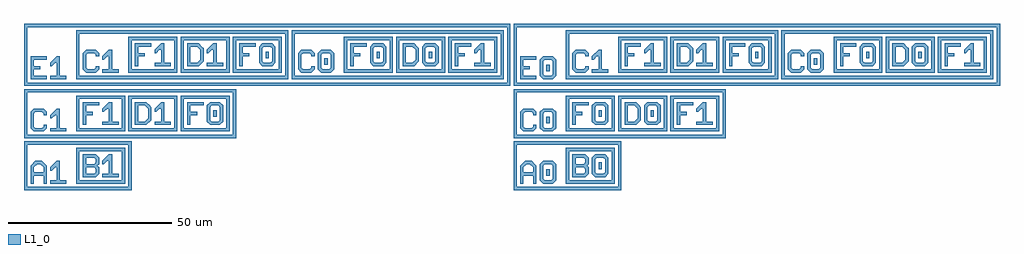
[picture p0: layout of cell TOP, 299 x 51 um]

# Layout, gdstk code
import gdstk
lib = gdstk.Library(unit=1e-6, precision=1e-09)
def R(c, l, rs):  # rectangles x0, y0, x1, y1
    for r in rs: c.add(gdstk.rectangle(r[:2], r[2:], *l))
def P(c, l, *ps):  # polygons
    for p in ps: c.add(gdstk.Polygon(p, *l))
L1_0 = (1, 0)

text_45 = lib.new_cell('TEXT$45')
P(text_45, L1_0, [(0,0),(0,5.5),(1.5,7),(3.5,7),(4.5,6),(2,6),(1,5),(1,3.5),(4,3.5),(4,5),(3,6),(4.5,6),(5,5.5),(5,0),(4,0),(4,2.5),(1,2.5),(1,0)],
  [(6,0),(6,1),(8,1),(8,5),(7.5,5),(6.5,4),(6,4),(6,5),(8,7),(9,7),(9,1),(11,1),(11,0)])

text_25 = lib.new_cell('TEXT$25')
P(text_25, L1_0, [(0,0),(0,7),(4,7),(5,6),(1,6),(1,4),(3.5,4),(4,4.5),(4,5.5),(3.5,6),(5,6),(5,4),(4.5,3.5),(5,3),(1,3),(1,1),(3.5,1),(4,1.5),(4,2.5),(3.5,3),(5,3),(5,1),(4,0)],
  [(6,0),(6,1),(8,1),(8,5),(7.5,5),(6.5,4),(6,4),(6,5),(8,7),(9,7),(9,1),(11,1),(11,0)])

c_b1 = lib.new_cell('B1')
c_b1.add(gdstk.FlexPath([(0.5,0.5),(0.5,10.5),(14.5,10.5),(14.5,0.5),(0.5,0.5)], 1, ends="extended", simple_path=True, layer=1, datatype=0))  # L1_0
c_b1.add(gdstk.Reference(text_25, (2,2)))

c_a1 = lib.new_cell('A1')
c_a1.add(gdstk.FlexPath([(0.5,0.5),(0.5,14.5),(32.5,14.5),(32.5,0.5),(0.5,0.5)], 1, ends="extended", simple_path=True, layer=1, datatype=0))  # L1_0
c_a1.add(gdstk.Reference(text_45, (2,2)))
c_a1.add(gdstk.Reference(c_b1, (16,2)))

text_47 = lib.new_cell('TEXT$47')
P(text_47, L1_0, [(1,0),(0,1),(0,6),(1,7),(4,7),(5,6),(5,5),(4,5),(4,5.5),(3.5,6),(1.5,6),(1,5.5),(1,1.5),(1.5,1),(3.5,1),(4,1.5),(4,2),(5,2),(5,1),(4,0)],
  [(6,0),(6,1),(8,1),(8,5),(7.5,5),(6.5,4),(6,4),(6,5),(8,7),(9,7),(9,1),(11,1),(11,0)])

text = lib.new_cell('TEXT')
P(text, L1_0, [(0,0),(0,7),(5,7),(5,6),(1,6),(1,4),(3,4),(3,3),(1,3),(1,0)],
  [(6,0),(6,1),(8,1),(8,5),(7.5,5),(6.5,4),(6,4),(6,5),(8,7),(9,7),(9,1),(11,1),(11,0)])

c_f1 = lib.new_cell('F1')
c_f1.add(gdstk.FlexPath([(0.5,0.5),(0.5,10.5),(14.5,10.5),(14.5,0.5),(0.5,0.5)], 1, ends="extended", simple_path=True, layer=1, datatype=0))  # L1_0
c_f1.add(gdstk.Reference(text, (2,2)))

text_52 = lib.new_cell('TEXT$52')
P(text_52, L1_0, [(0,0),(0,7),(3.5,7),(4.5,6),(1,6),(1,1),(3,1),(4,2),(4,5),(3,6),(4.5,6),(5,5.5),(5,1.5),(3.5,0)],
  [(6,0),(6,1),(8,1),(8,5),(7.5,5),(6.5,4),(6,4),(6,5),(8,7),(9,7),(9,1),(11,1),(11,0)])

c_d1 = lib.new_cell('D1')
c_d1.add(gdstk.FlexPath([(0.5,0.5),(0.5,10.5),(14.5,10.5),(14.5,0.5),(0.5,0.5)], 1, ends="extended", simple_path=True, layer=1, datatype=0))  # L1_0
c_d1.add(gdstk.Reference(text_52, (2,2)))

text_53 = lib.new_cell('TEXT$53')
R(text_53, L1_0, [(8,2.5,9,4.5)])
P(text_53, L1_0, [(0,0),(0,7),(5,7),(5,6),(1,6),(1,4),(3,4),(3,3),(1,3),(1,0)],
  [(7,0),(6,1),(6,6),(7,7),(10,7),(11,6),(7.5,6),(7,5.5),(7,1.5),(7.5,1),(9.5,1),(10,1.5),(10,5.5),(9.5,6),(11,6),(11,1),(10,0)])

c_f0 = lib.new_cell('F0')
c_f0.add(gdstk.FlexPath([(0.5,0.5),(0.5,10.5),(14.5,10.5),(14.5,0.5),(0.5,0.5)], 1, ends="extended", simple_path=True, layer=1, datatype=0))  # L1_0
c_f0.add(gdstk.Reference(text_53, (2,2)))

c_c1 = lib.new_cell('C1')
c_c1.add(gdstk.FlexPath([(0.5,0.5),(0.5,14.5),(64.5,14.5),(64.5,0.5),(0.5,0.5)], 1, ends="extended", simple_path=True, layer=1, datatype=0))  # L1_0
c_c1.add(gdstk.Reference(text_47, (2,2)))
c_c1.add(gdstk.Reference(c_f1, (16,2)))
c_c1.add(gdstk.Reference(c_d1, (32,2)))
c_c1.add(gdstk.Reference(c_f0, (48,2)))

text_46 = lib.new_cell('TEXT$46')
P(text_46, L1_0, [(0,0),(0,7),(5,7),(5,6),(1,6),(1,4),(3,4),(3,3),(1,3),(1,1),(5,1),(5,0)],
  [(6,0),(6,1),(8,1),(8,5),(7.5,5),(6.5,4),(6,4),(6,5),(8,7),(9,7),(9,1),(11,1),(11,0)])

text_41 = lib.new_cell('TEXT$41')
R(text_41, L1_0, [(8,2.5,9,4.5)])
P(text_41, L1_0, [(1,0),(0,1),(0,6),(1,7),(4,7),(5,6),(5,5),(4,5),(4,5.5),(3.5,6),(1.5,6),(1,5.5),(1,1.5),(1.5,1),(3.5,1),(4,1.5),(4,2),(5,2),(5,1),(4,0)],
  [(7,0),(6,1),(6,6),(7,7),(10,7),(11,6),(7.5,6),(7,5.5),(7,1.5),(7.5,1),(9.5,1),(10,1.5),(10,5.5),(9.5,6),(11,6),(11,1),(10,0)])

text_31 = lib.new_cell('TEXT$31')
R(text_31, L1_0, [(8,2.5,9,4.5)])
P(text_31, L1_0, [(0,0),(0,7),(3.5,7),(4.5,6),(1,6),(1,1),(3,1),(4,2),(4,5),(3,6),(4.5,6),(5,5.5),(5,1.5),(3.5,0)],
  [(7,0),(6,1),(6,6),(7,7),(10,7),(11,6),(7.5,6),(7,5.5),(7,1.5),(7.5,1),(9.5,1),(10,1.5),(10,5.5),(9.5,6),(11,6),(11,1),(10,0)])

c_d0 = lib.new_cell('D0')
c_d0.add(gdstk.FlexPath([(0.5,0.5),(0.5,10.5),(14.5,10.5),(14.5,0.5),(0.5,0.5)], 1, ends="extended", simple_path=True, layer=1, datatype=0))  # L1_0
c_d0.add(gdstk.FlexPath([(0.5,0.5),(0.5,10.5),(14.5,10.5),(14.5,0.5),(0.5,0.5)], 1, ends="extended", simple_path=True, layer=1, datatype=0))  # L1_0
c_d0.add(gdstk.Reference(text_31, (2,2)))
c_d0.add(gdstk.Reference(text_31, (2,2)))

c_c0 = lib.new_cell('C0')
c_c0.add(gdstk.FlexPath([(0.5,0.5),(0.5,14.5),(64.5,14.5),(64.5,0.5),(0.5,0.5)], 1, ends="extended", simple_path=True, layer=1, datatype=0))  # L1_0
c_c0.add(gdstk.Reference(text_41, (2,2)))
c_c0.add(gdstk.Reference(c_f0, (16,2)))
c_c0.add(gdstk.Reference(c_d0, (32,2)))
c_c0.add(gdstk.Reference(c_f1, (48,2)))

c_e1 = lib.new_cell('E1')
c_e1.add(gdstk.FlexPath([(0.5,0.5),(0.5,18.5),(148.5,18.5),(148.5,0.5),(0.5,0.5)], 1, ends="extended", simple_path=True, layer=1, datatype=0))  # L1_0
c_e1.add(gdstk.Reference(text_46, (2,2)))
c_e1.add(gdstk.Reference(c_c1, (16,2)))
c_e1.add(gdstk.Reference(c_c0, (82,2)))

text_44 = lib.new_cell('TEXT$44')
R(text_44, L1_0, [(8,2.5,9,4.5)])
P(text_44, L1_0, [(0,0),(0,5.5),(1.5,7),(3.5,7),(4.5,6),(2,6),(1,5),(1,3.5),(4,3.5),(4,5),(3,6),(4.5,6),(5,5.5),(5,0),(4,0),(4,2.5),(1,2.5),(1,0)],
  [(7,0),(6,1),(6,6),(7,7),(10,7),(11,6),(7.5,6),(7,5.5),(7,1.5),(7.5,1),(9.5,1),(10,1.5),(10,5.5),(9.5,6),(11,6),(11,1),(10,0)])

text_24 = lib.new_cell('TEXT$24')
R(text_24, L1_0, [(8,2.5,9,4.5)])
P(text_24, L1_0, [(0,0),(0,7),(4,7),(5,6),(1,6),(1,4),(3.5,4),(4,4.5),(4,5.5),(3.5,6),(5,6),(5,4),(4.5,3.5),(5,3),(1,3),(1,1),(3.5,1),(4,1.5),(4,2.5),(3.5,3),(5,3),(5,1),(4,0)],
  [(7,0),(6,1),(6,6),(7,7),(10,7),(11,6),(7.5,6),(7,5.5),(7,1.5),(7.5,1),(9.5,1),(10,1.5),(10,5.5),(9.5,6),(11,6),(11,1),(10,0)])

c_b0 = lib.new_cell('B0')
c_b0.add(gdstk.FlexPath([(0.5,0.5),(0.5,10.5),(14.5,10.5),(14.5,0.5),(0.5,0.5)], 1, ends="extended", simple_path=True, layer=1, datatype=0))  # L1_0
c_b0.add(gdstk.Reference(text_24, (2,2)))

c_a0 = lib.new_cell('A0')
c_a0.add(gdstk.FlexPath([(0.5,0.5),(0.5,14.5),(32.5,14.5),(32.5,0.5),(0.5,0.5)], 1, ends="extended", simple_path=True, layer=1, datatype=0))  # L1_0
c_a0.add(gdstk.Reference(text_44, (2,2)))
c_a0.add(gdstk.Reference(c_b0, (16,2)))

text_33 = lib.new_cell('TEXT$33')
R(text_33, L1_0, [(8,2.5,9,4.5)])
P(text_33, L1_0, [(0,0),(0,7),(5,7),(5,6),(1,6),(1,4),(3,4),(3,3),(1,3),(1,1),(5,1),(5,0)],
  [(7,0),(6,1),(6,6),(7,7),(10,7),(11,6),(7.5,6),(7,5.5),(7,1.5),(7.5,1),(9.5,1),(10,1.5),(10,5.5),(9.5,6),(11,6),(11,1),(10,0)])

c_e0 = lib.new_cell('E0')
c_e0.add(gdstk.FlexPath([(0.5,0.5),(0.5,18.5),(148.5,18.5),(148.5,0.5),(0.5,0.5)], 1, ends="extended", simple_path=True, layer=1, datatype=0))  # L1_0
c_e0.add(gdstk.Reference(text_33, (2,2)))
c_e0.add(gdstk.Reference(c_c1, (16,2)))
c_e0.add(gdstk.Reference(c_c0, (82,2)))

top = lib.new_cell('TOP')
top.add(gdstk.Reference(c_a1, (2,2)))
top.add(gdstk.Reference(c_c1, (2,18)))
top.add(gdstk.Reference(c_e1, (2,34)))
top.add(gdstk.Reference(c_a0, (152,2)))
top.add(gdstk.Reference(c_c0, (152,18)))
top.add(gdstk.Reference(c_e0, (152,34)))

lib.write_gds('TOP.gds')
